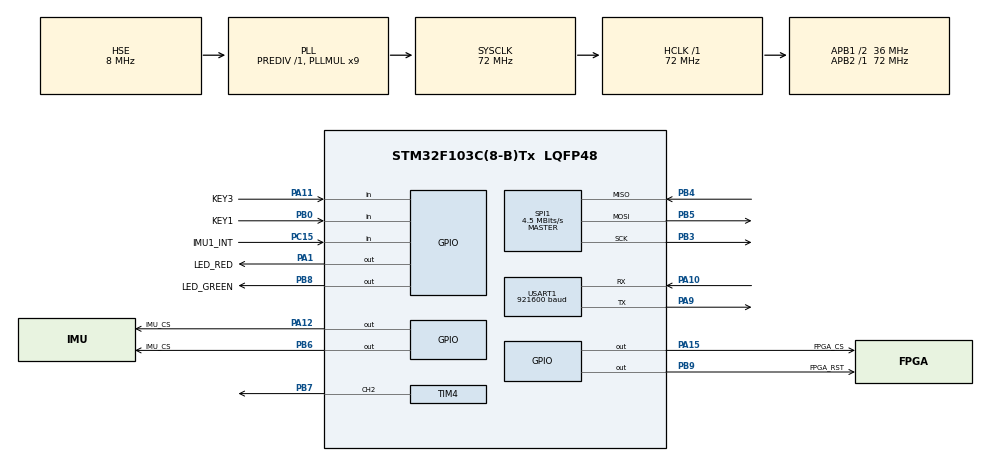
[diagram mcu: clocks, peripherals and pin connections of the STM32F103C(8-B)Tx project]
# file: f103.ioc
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Dma.Request0=USART1_RX
Dma.USART1_RX.0.Direction=DMA_PERIPH_TO_MEMORY
Dma.USART1_RX.0.Instance=DMA1_Channel5
Dma.USART1_RX.0.MemDataAlignment=DMA_MDATAALIGN_BYTE
Dma.USART1_RX.0.MemInc=DMA_MINC_ENABLE
Dma.USART1_RX.0.Mode=DMA_NORMAL
Dma.USART1_RX.0.PeriphDataAlignment=DMA_PDATAALIGN_BYTE
Dma.USART1_RX.0.PeriphInc=DMA_PINC_DISABLE
Dma.USART1_RX.0.Priority=DMA_PRIORITY_LOW
Mcu.Family=STM32F1
Mcu.Name=STM32F103C(8-B)Tx
Mcu.Package=LQFP48
NVIC.DMA1_Channel5_IRQn=true\:0\:0\:false\:false\:true\:false\:true\:true
NVIC.PriorityGroup=NVIC_PRIORITYGROUP_4
NVIC.USART1_IRQn=true\:0\:0\:false\:false\:true\:true\:true\:true
PA1.GPIO_Label=LED_RED
PA1.GPIO_PuPd=GPIO_PULLUP
PA1.Signal=GPIO_Output
PA10.Mode=Asynchronous
PA10.Signal=USART1_RX
PA11.GPIO_Label=KEY3
PA11.GPIO_PuPd=GPIO_PULLUP
PA11.Signal=GPIO_Input
PA12.GPIO_Label=IMU_CS
PA12.GPIO_PuPd=GPIO_PULLUP
PA12.GPIO_Speed=GPIO_SPEED_FREQ_HIGH
PA12.PinState=GPIO_PIN_SET
PA12.Signal=GPIO_Output
PA13.Mode=Serial_Wire
PA13.Signal=SYS_JTMS-SWDIO
PA14.Mode=Serial_Wire
PA14.Signal=SYS_JTCK-SWCLK
PA15.GPIO_Label=FPGA_CS
PA15.GPIO_PuPd=GPIO_PULLUP
PA15.GPIO_Speed=GPIO_SPEED_FREQ_HIGH
PA15.PinState=GPIO_PIN_SET
PA15.Signal=GPIO_Output
PA9.Mode=Asynchronous
PA9.Signal=USART1_TX
PB0.GPIO_Label=KEY1
PB0.GPIO_PuPd=GPIO_PULLUP
PB0.Signal=GPIO_Input
PB3.Mode=Full_Duplex_Master
PB3.Signal=SPI1_SCK
PB4.Mode=Full_Duplex_Master
PB4.Signal=SPI1_MISO
PB5.Mode=Full_Duplex_Master
PB5.Signal=SPI1_MOSI
PB6.GPIO_Label=IMU_CS
PB6.PinState=GPIO_PIN_SET
PB6.Signal=GPIO_Output
PB7.Signal=S_TIM4_CH2
PB8.GPIO_Label=LED_GREEN
PB8.GPIO_PuPd=GPIO_PULLUP
PB8.Signal=GPIO_Output
PB9.GPIO_Label=FPGA_RST
PB9.GPIO_PuPd=GPIO_PULLUP
PB9.GPIO_Speed=GPIO_SPEED_FREQ_HIGH
PB9.PinState=GPIO_PIN_SET
PB9.Signal=GPIO_Output
PC15-OSC32_OUT.GPIO_Label=IMU1_INT
PC15-OSC32_OUT.Signal=GPIO_Input
PD0-OSC_IN.Mode=HSE-External-Oscillator
PD0-OSC_IN.Signal=RCC_OSC_IN
PD1-OSC_OUT.Mode=HSE-External-Oscillator
PD1-OSC_OUT.Signal=RCC_OSC_OUT
ProjectManager.HeapSize=0x200
ProjectManager.StackSize=0x400
ProjectManager.TargetToolchain=CMake
RCC.AHBFreq_Value=72000000
RCC.APB1CLKDivider=RCC_HCLK_DIV2
RCC.APB1Freq_Value=36000000
RCC.APB1TimFreq_Value=72000000
RCC.APB2Freq_Value=72000000
RCC.APB2TimFreq_Value=72000000
RCC.HCLKFreq_Value=72000000
RCC.PLLMUL=RCC_PLL_MUL9
RCC.PLLSourceVirtual=RCC_PLLSOURCE_HSE
RCC.SYSCLKFreq_VALUE=72000000
RCC.SYSCLKSource=RCC_SYSCLKSOURCE_PLLCLK
RCC.USBFreq_Value=72000000
SH.S_TIM4_CH2.0=TIM4_CH2,PWM Generation2 CH2
SPI1.BaudRatePrescaler=SPI_BAUDRATEPRESCALER_16
SPI1.CLKPhase=SPI_PHASE_2EDGE
SPI1.CLKPolarity=SPI_POLARITY_HIGH
SPI1.CalculateBaudRate=4.5 MBits/s
SPI1.Direction=SPI_DIRECTION_2LINES
SPI1.Mode=SPI_MODE_MASTER
SPI1.VirtualType=VM_MASTER
TIM4.Channel-PWM\ Generation2\ CH2=TIM_CHANNEL_2
TIM4.Period=93
TIM4.Prescaler=11
TIM4.Pulse-PWM\ Generation2\ CH2=47
USART1.BaudRate=921600
USART1.VirtualMode=VM_ASYNC
VP_FATFS_VS_Generic.Mode=User_defined
VP_TIM4_VS_ClockSourceINT.Mode=Internal
board=custom

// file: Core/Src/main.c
/* USER CODE BEGIN Header */
/**
  ******************************************************************************
  * @file           : main.c
  * @brief          : Main program body
  ******************************************************************************
  * @attention
  *
  * Copyright (c) 2025 STMicroelectronics.
  * All rights reserved.
  *
  * This software is licensed under terms that can be found in the LICENSE file
  * in the root directory of this software component.
  * If no LICENSE file comes with this software, it is provided AS-IS.
  *
  ******************************************************************************
  */
/* USER CODE END Header */
#include "main.h"
#include "fatfs.h"

/* USER CODE BEGIN Includes */
#include "usart.h"
#include "delay.h"
#include "led.h"
/* USER CODE END Includes */

SPI_HandleTypeDef hspi1;

TIM_HandleTypeDef htim4;

UART_HandleTypeDef huart1;
DMA_HandleTypeDef hdma_usart1_rx;

void SystemClock_Config(void);
static void MX_GPIO_Init(void);
static void MX_DMA_Init(void);
static void MX_USART1_UART_Init(void);
static void MX_TIM4_Init(void);
static void MX_SPI1_Init(void);

int main(void)
{

  /* MCU Configuration--------------------------------------------------------*/

  /* Reset of all peripherals, Initializes the Flash interface and the Systick. */
  HAL_Init();

  /* Configure the system clock */
  SystemClock_Config();

  /* Initialize all configured peripherals */
  MX_GPIO_Init();
  MX_DMA_Init();
  MX_USART1_UART_Init();
  MX_FATFS_Init();
  MX_TIM4_Init();
  MX_SPI1_Init();
  /* USER CODE BEGIN 2 */
  LED_Init();
  LED_GREEN_ON();
  LED_RED_ON();
  U1_Init();
  U1_printf("A!!!!\r\n");
  uint16_t datalen = 0;
  /* USER CODE END 2 */

  /* Infinite loop */
  /* USER CODE BEGIN WHILE */
  HAL_TIM_PWM_Start(&htim4, TIM_CHANNEL_2);  // 启动 TIM4 CH2 PWM
  while (1)
  {
    /* USER CODE END WHILE */

    /* USER CODE BEGIN 3 */

    if(U1CB.URxDataIN != U1CB.URxDataOUT)
    {

      datalen = U1CB.URxDataOUT->end - U1CB.URxDataOUT->start + 1; //计算数据长度
      U1_printf("U1 SendData(%d):",datalen);

      for(uint8_t i = 0; i < datalen; i++)
      {
        U1_printf("%c",(uint8_t)U1CB.URxDataOUT->start[i]);
      }
      U1_printf("\r\n");

      U1CB.URxDataOUT++;
      if(U1CB.URxDataOUT == U1CB.URxDataEND) //如果指针到达末尾
      {
          U1CB.URxDataOUT = &U1CB.URxDataptr[0]; //重置指针
      }
      datalen = 0; //重置数据长度
    }
  }
  /* USER CODE END 3 */
}

void SystemClock_Config(void)
{
  RCC_OscInitTypeDef RCC_OscInitStruct = {0};
  RCC_ClkInitTypeDef RCC_ClkInitStruct = {0};

  /** Initializes the RCC Oscillators according to the specified parameters
  * in the RCC_OscInitTypeDef structure.
  */
  RCC_OscInitStruct.OscillatorType = RCC_OSCILLATORTYPE_HSE;
  RCC_OscInitStruct.HSEState = RCC_HSE_ON;
  RCC_OscInitStruct.HSEPredivValue = RCC_HSE_PREDIV_DIV1;
  RCC_OscInitStruct.HSIState = RCC_HSI_ON;
  RCC_OscInitStruct.PLL.PLLState = RCC_PLL_ON;
  RCC_OscInitStruct.PLL.PLLSource = RCC_PLLSOURCE_HSE;
  RCC_OscInitStruct.PLL.PLLMUL = RCC_PLL_MUL9;
  if (HAL_RCC_OscConfig(&RCC_OscInitStruct) != HAL_OK)
  {
    Error_Handler();
  }

  /** Initializes the CPU, AHB and APB buses clocks
  */
  RCC_ClkInitStruct.ClockType = RCC_CLOCKTYPE_HCLK|RCC_CLOCKTYPE_SYSCLK
                              |RCC_CLOCKTYPE_PCLK1|RCC_CLOCKTYPE_PCLK2;
  RCC_ClkInitStruct.SYSCLKSource = RCC_SYSCLKSOURCE_PLLCLK;
  RCC_ClkInitStruct.AHBCLKDivider = RCC_SYSCLK_DIV1;
  RCC_ClkInitStruct.APB1CLKDivider = RCC_HCLK_DIV2;
  RCC_ClkInitStruct.APB2CLKDivider = RCC_HCLK_DIV1;

  if (HAL_RCC_ClockConfig(&RCC_ClkInitStruct, FLASH_LATENCY_2) != HAL_OK)
  {
    Error_Handler();
  }
}

static void MX_SPI1_Init(void)
{

  /* SPI1 parameter configuration*/
  hspi1.Instance = SPI1;
  hspi1.Init.Mode = SPI_MODE_MASTER;
  hspi1.Init.Direction = SPI_DIRECTION_2LINES;
  hspi1.Init.DataSize = SPI_DATASIZE_8BIT;
  hspi1.Init.CLKPolarity = SPI_POLARITY_HIGH;
  hspi1.Init.CLKPhase = SPI_PHASE_2EDGE;
  hspi1.Init.NSS = SPI_NSS_SOFT;
  hspi1.Init.BaudRatePrescaler = SPI_BAUDRATEPRESCALER_16;
  hspi1.Init.FirstBit = SPI_FIRSTBIT_MSB;
  hspi1.Init.TIMode = SPI_TIMODE_DISABLE;
  hspi1.Init.CRCCalculation = SPI_CRCCALCULATION_DISABLE;
  hspi1.Init.CRCPolynomial = 10;
  if (HAL_SPI_Init(&hspi1) != HAL_OK)
  {
    Error_Handler();
  }

}

static void MX_TIM4_Init(void)
{

  TIM_ClockConfigTypeDef sClockSourceConfig = {0};
  TIM_MasterConfigTypeDef sMasterConfig = {0};
  TIM_OC_InitTypeDef sConfigOC = {0};

  htim4.Instance = TIM4;
  htim4.Init.Prescaler = 11;
  htim4.Init.CounterMode = TIM_COUNTERMODE_UP;
  htim4.Init.Period = 93;
  htim4.Init.ClockDivision = TIM_CLOCKDIVISION_DIV1;
  htim4.Init.AutoReloadPreload = TIM_AUTORELOAD_PRELOAD_DISABLE;
  if (HAL_TIM_Base_Init(&htim4) != HAL_OK)
  {
    Error_Handler();
  }
  sClockSourceConfig.ClockSource = TIM_CLOCKSOURCE_INTERNAL;
  if (HAL_TIM_ConfigClockSource(&htim4, &sClockSourceConfig) != HAL_OK)
  {
    Error_Handler();
  }
  if (HAL_TIM_PWM_Init(&htim4) != HAL_OK)
  {
    Error_Handler();
  }
  sMasterConfig.MasterOutputTrigger = TIM_TRGO_RESET;
  sMasterConfig.MasterSlaveMode = TIM_MASTERSLAVEMODE_DISABLE;
  if (HAL_TIMEx_MasterConfigSynchronization(&htim4, &sMasterConfig) != HAL_OK)
  {
    Error_Handler();
  }
  sConfigOC.OCMode = TIM_OCMODE_PWM1;
  sConfigOC.Pulse = 47;
  sConfigOC.OCPolarity = TIM_OCPOLARITY_HIGH;
  sConfigOC.OCFastMode = TIM_OCFAST_DISABLE;
  if (HAL_TIM_PWM_ConfigChannel(&htim4, &sConfigOC, TIM_CHANNEL_2) != HAL_OK)
  {
    Error_Handler();
  }
  HAL_TIM_MspPostInit(&htim4);

}

static void MX_USART1_UART_Init(void)
{

  huart1.Instance = USART1;
  huart1.Init.BaudRate = 921600;
  huart1.Init.WordLength = UART_WORDLENGTH_8B;
  huart1.Init.StopBits = UART_STOPBITS_1;
  huart1.Init.Parity = UART_PARITY_NONE;
  huart1.Init.Mode = UART_MODE_TX_RX;
  huart1.Init.HwFlowCtl = UART_HWCONTROL_NONE;
  huart1.Init.OverSampling = UART_OVERSAMPLING_16;
  if (HAL_UART_Init(&huart1) != HAL_OK)
  {
    Error_Handler();
  }

}

static void MX_DMA_Init(void)
{

  /* DMA controller clock enable */
  __HAL_RCC_DMA1_CLK_ENABLE();

  /* DMA interrupt init */
  /* DMA1_Channel5_IRQn interrupt configuration */
  HAL_NVIC_SetPriority(DMA1_Channel5_IRQn, 0, 0);
  HAL_NVIC_EnableIRQ(DMA1_Channel5_IRQn);

}

static void MX_GPIO_Init(void)
{
  GPIO_InitTypeDef GPIO_InitStruct = {0};

  /* GPIO Ports Clock Enable */
  __HAL_RCC_GPIOC_CLK_ENABLE();
  __HAL_RCC_GPIOD_CLK_ENABLE();
  __HAL_RCC_GPIOA_CLK_ENABLE();
  __HAL_RCC_GPIOB_CLK_ENABLE();

  /*Configure GPIO pin Output Level */
  HAL_GPIO_WritePin(LED_RED_GPIO_Port, LED_RED_Pin, GPIO_PIN_RESET);

  /*Configure GPIO pin Output Level */
  HAL_GPIO_WritePin(GPIOA, IMU_CS_Pin|FPGA_CS_Pin, GPIO_PIN_SET);

  /*Configure GPIO pin Output Level */
  HAL_GPIO_WritePin(GPIOB, IMU_CSB6_Pin|FPGA_RST_Pin, GPIO_PIN_SET);

  /*Configure GPIO pin Output Level */
  HAL_GPIO_WritePin(LED_GREEN_GPIO_Port, LED_GREEN_Pin, GPIO_PIN_RESET);

  /*Configure GPIO pin : IMU1_INT_Pin */
  GPIO_InitStruct.Pin = IMU1_INT_Pin;
  GPIO_InitStruct.Mode = GPIO_MODE_INPUT;
  GPIO_InitStruct.Pull = GPIO_NOPULL;
  HAL_GPIO_Init(IMU1_INT_GPIO_Port, &GPIO_InitStruct);

  /*Configure GPIO pin : LED_RED_Pin */
  GPIO_InitStruct.Pin = LED_RED_Pin;
  GPIO_InitStruct.Mode = GPIO_MODE_OUTPUT_PP;
  GPIO_InitStruct.Pull = GPIO_PULLUP;
  GPIO_InitStruct.Speed = GPIO_SPEED_FREQ_LOW;
  HAL_GPIO_Init(LED_RED_GPIO_Port, &GPIO_InitStruct);

  /*Configure GPIO pin : KEY1_Pin */
  GPIO_InitStruct.Pin = KEY1_Pin;
  GPIO_InitStruct.Mode = GPIO_MODE_INPUT;
  GPIO_InitStruct.Pull = GPIO_PULLUP;
  HAL_GPIO_Init(KEY1_GPIO_Port, &GPIO_InitStruct);

  /*Configure GPIO pin : KEY3_Pin */
  GPIO_InitStruct.Pin = KEY3_Pin;
  GPIO_InitStruct.Mode = GPIO_MODE_INPUT;
  GPIO_InitStruct.Pull = GPIO_PULLUP;
  HAL_GPIO_Init(KEY3_GPIO_Port, &GPIO_InitStruct);

  /*Configure GPIO pins : IMU_CS_Pin FPGA_CS_Pin */
  GPIO_InitStruct.Pin = IMU_CS_Pin|FPGA_CS_Pin;
  GPIO_InitStruct.Mode = GPIO_MODE_OUTPUT_PP;
  GPIO_InitStruct.Pull = GPIO_PULLUP;
  GPIO_InitStruct.Speed = GPIO_SPEED_FREQ_HIGH;
  HAL_GPIO_Init(GPIOA, &GPIO_InitStruct);

  /*Configure GPIO pin : IMU_CSB6_Pin */
  GPIO_InitStruct.Pin = IMU_CSB6_Pin;
  GPIO_InitStruct.Mode = GPIO_MODE_OUTPUT_PP;
  GPIO_InitStruct.Pull = GPIO_NOPULL;
  GPIO_InitStruct.Speed = GPIO_SPEED_FREQ_LOW;
  HAL_GPIO_Init(IMU_CSB6_GPIO_Port, &GPIO_InitStruct);

  /*Configure GPIO pin : LED_GREEN_Pin */
  GPIO_InitStruct.Pin = LED_GREEN_Pin;
  GPIO_InitStruct.Mode = GPIO_MODE_OUTPUT_PP;
  GPIO_InitStruct.Pull = GPIO_PULLUP;
  GPIO_InitStruct.Speed = GPIO_SPEED_FREQ_LOW;
  HAL_GPIO_Init(LED_GREEN_GPIO_Port, &GPIO_InitStruct);

  /*Configure GPIO pin : FPGA_RST_Pin */
  GPIO_InitStruct.Pin = FPGA_RST_Pin;
  GPIO_InitStruct.Mode = GPIO_MODE_OUTPUT_PP;
  GPIO_InitStruct.Pull = GPIO_PULLUP;
  GPIO_InitStruct.Speed = GPIO_SPEED_FREQ_HIGH;
  HAL_GPIO_Init(FPGA_RST_GPIO_Port, &GPIO_InitStruct);

}

void Error_Handler(void)
{
  __disable_irq();
  while (1)
  {
  }
}
